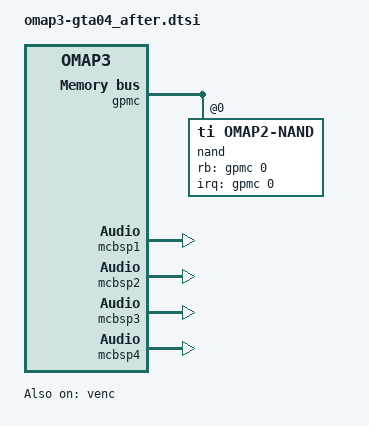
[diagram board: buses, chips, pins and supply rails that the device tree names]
&venc {
	status = "okay";

	vdda-supply = <&vdac>;

	port {
		venc_out: endpoint {
			remote-endpoint = <&opa_in>;
			ti,channels = <1>;
			ti,invert-polarity;
		};
	};
};

&gpmc {
	ranges = <0 0 0x30000000 0x1000000>; /* CS0: 16MB for NAND */

	nand@0,0 {
		compatible = "ti,omap2-nand";
		reg = <0 0 4>; /* CS0, offset 0, IO size 4 */
		interrupt-parent = <&gpmc>;
		interrupts = <0 IRQ_TYPE_NONE>, /* fifoevent */
			     <1 IRQ_TYPE_NONE>;	/* termcount */
		ti,nand-ecc-opt = "ham1";
		rb-gpios = <&gpmc 0 GPIO_ACTIVE_HIGH>; /* gpmc_wait0 */
		nand-bus-width = <16>;
		#address-cells = <1>;
		#size-cells = <1>;

		gpmc,device-width = <2>;
		gpmc,cs-on-ns = <0>;
		gpmc,cs-rd-off-ns = <44>;
		gpmc,cs-wr-off-ns = <44>;
		gpmc,adv-on-ns = <6>;
		gpmc,adv-rd-off-ns = <34>;
		gpmc,adv-wr-off-ns = <44>;
		gpmc,oe-off-ns = <54>;
		gpmc,we-off-ns = <40>;
		gpmc,access-ns = <64>;
		gpmc,rd-cycle-ns = <82>;
		gpmc,wr-cycle-ns = <82>;
		gpmc,wr-access-ns = <40>;
		gpmc,wr-data-mux-bus-ns = <0>;
		gpmc,sync-clk-ps = <0>;

		x-loader@0 {
			label = "X-Loader";
			reg = <0 0x80000>;
		};

		bootloaders@80000 {
			label = "U-Boot";
			reg = <0x80000 0x1c0000>;
		};

		bootloaders_env@240000 {
			label = "U-Boot Env";
			reg = <0x240000 0x40000>;
		};

		kernel@280000 {
			label = "Kernel";
			reg = <0x280000 0x600000>;
		};

		filesystem@880000 {
			label = "File System";
			reg = <0x880000 0>;	/* 0 = MTDPART_SIZ_FULL */
		};
	};
};

&mcbsp1 { /* FM Transceiver PCM */
	status = "ok";
	#sound-dai-cells = <0>;
	pinctrl-names = "default";
	pinctrl-0 = <&mcbsp1_pins>;
};

&mcbsp2 { /* TPS65950 I2S */
	status = "ok";
	pinctrl-names = "default";
	pinctrl-0 = <&mcbsp2_pins>;
};

&mcbsp3 { /* Bluetooth PCM */
	status = "ok";
	#sound-dai-cells = <0>;
	pinctrl-names = "default";
	pinctrl-0 = <&mcbsp3_pins>;
};

&mcbsp4 { /* GSM voice PCM */
	status = "ok";
	#sound-dai-cells = <0>;
	pinctrl-names = "default";
	pinctrl-0 = <&mcbsp4_pins>;
};

&hdqw1w {
        pinctrl-names = "default";
        pinctrl-0 = <&hdq_pins>;
};

/* image signal processor within OMAP3 SoC */
&isp {
	ports {
		port@0 {
			reg = <0>;
			parallel_ep: endpoint {
				ti,isp-clock-divisor = <1>;
				ti,strobe-mode;
				bus-width = <8>;/* Used data lines */
				data-shift = <2>; /* Lines 9:2 are used */
				hsync-active = <0>; /* Active low */
				vsync-active = <1>; /* Active high */
				data-active = <1>;/* Active high */
				pclk-sample = <1>;/* Falling */
			};
		};
		/* port@1 and port@2 are not used by GTA04 */
	};
};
